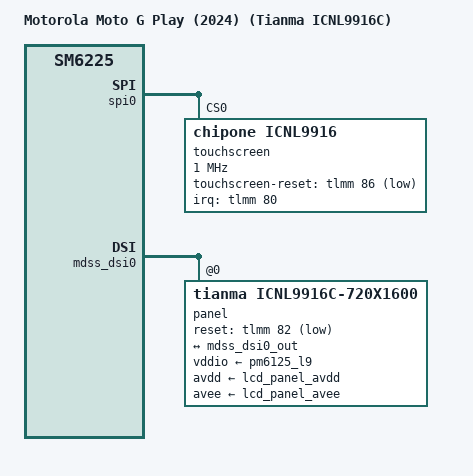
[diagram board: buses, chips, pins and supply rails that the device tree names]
// SPDX-License-Identifier: (GPL-2.0+ OR BSD-3-Clause)
/*
 * Motorola Moto G Play (2024) -- "fogona" with the Tianma ICNL9916C panel.
 *
 * fogona is dual-sourced for the display. The ChipOne ICNL9916C is a TDDI part,
 * so the same silicon drives the panel and the touch controller -- which is why
 * both nodes are here rather than in the common .dtsi, and why the touch node
 * follows the panel for power sequencing.
 *
 * Copyright (c) 2026 William Floyd
 */

/dts-v1/;

#include "sm6225-motorola-fogona.dtsi"

/ {
	model = "Motorola Moto G Play (2024) (Tianma ICNL9916C)";
};

&spi0 {
	touchscreen@0 {
		compatible = "chipone,icnl9916";

		/*
		 * TDDI: this is the same chip as the panel, so its power
		 * sequencing is the panel's. Following the panel is what tells
		 * the touch half to reload its SRAM firmware after a blank
		 * has reset the shared silicon.
		 */
		panel = <&panel>;
		reg = <0>;
		/* 1 MHz while bringing the link up; stock allows 9.6 MHz. */
		spi-max-frequency = <1000000>;

		interrupts-extended = <&tlmm 80 IRQ_TYPE_EDGE_FALLING>;
		touchscreen-reset-gpios = <&tlmm 86 GPIO_ACTIVE_LOW>;

		/*
		 * ts_int_default only. ts_reset_default muxes GPIO_86, which is
		 * touchscreen-reset-gpios above -- the same GPIO-vs-pinctrl
		 * collision that killed the avdd regulator and then the panel
		 * on 7.3. Not yet observed failing here only because touch is a
		 * module and had not probed; it would fail identically.
		 *
		 * ts_int_default is GPIO_80, used via interrupts-extended
		 * rather than as a GPIO, so nothing claims the pin and it stays.
		 */
		pinctrl-names = "default";
		pinctrl-0 = <&ts_int_default>;
	};
};

&mdss_dsi0 {
	panel: panel@0 {
		compatible = "tianma,icnl9916c-720x1600";
		reg = <0>;

		reset-gpios = <&tlmm 82 GPIO_ACTIVE_LOW>;

		vddio-supply = <&pm6125_l9>;
		avdd-supply = <&lcd_panel_avdd>;
		avee-supply = <&lcd_panel_avee>;

		/*
		 * te_active only. mdss_dsi_active muxes GPIO_82, which is the
		 * reset-gpios line above -- same collision as the avdd
		 * regulator, and on 7.3 it fails the panel's whole probe:
		 *
		 *   pin GPIO_82 already requested by 5e94000.dsi.0; cannot
		 *     claim for 500000.pinctrl:594
		 *   panel-icnl9916-720x1600: error -EINVAL: Failed to get
		 *     reset GPIO
		 *
		 * te_active is GPIO_81 (tear-effect), which no GPIO consumer
		 * claims, so it stays.
		 */
		pinctrl-names = "default";
		pinctrl-0 = <&te_active>;

		port {
			panel_in: endpoint {
				remote-endpoint = <&mdss_dsi0_out>;
			};
		};
	};
};
